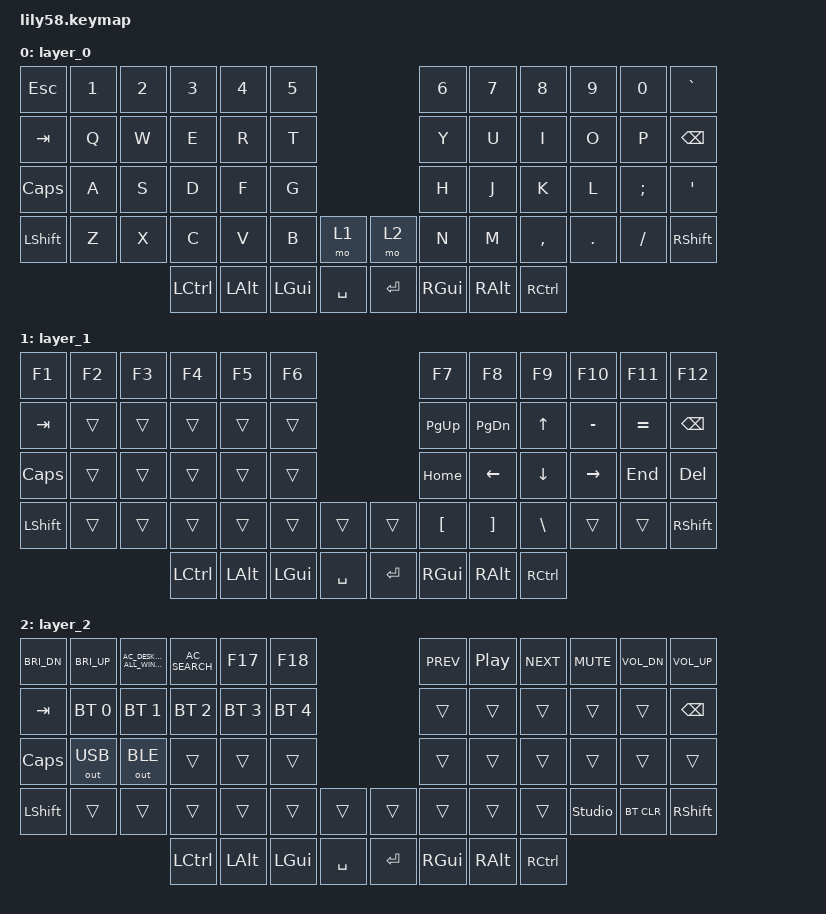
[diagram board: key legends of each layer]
#include <behaviors.dtsi>
#include <dt-bindings/zmk/bt.h>
#include <dt-bindings/zmk/keys.h>
#include <dt-bindings/zmk/outputs.h>

/ {
    keymap {
        compatible = "zmk,keymap";

        layer_0 {
            bindings = <
&kp ESC    &kp N1  &kp N2  &kp N3     &kp N4    &kp N5                          &kp N6    &kp N7    &kp N8     &kp N9   &kp N0    &kp GRAVE
&kp TAB    &kp Q   &kp W   &kp E      &kp R     &kp T                           &kp Y     &kp U     &kp I      &kp O    &kp P     &kp BSPC
&kp CAPS   &kp A   &kp S   &kp D      &kp F     &kp G                           &kp H     &kp J     &kp K      &kp L    &kp SEMI  &kp APOS
&kp LSHFT  &kp Z   &kp X   &kp C      &kp V     &kp B     &mo 1        &mo 2    &kp N     &kp M     &kp COMMA  &kp DOT  &kp FSLH  &kp RSHFT
                           &kp LCTRL  &kp LALT  &kp LGUI  &kp SPACE    &kp RET  &kp RGUI  &kp RALT  &kp RCTRL
            >;
        };

        layer_1 {
            // F-keys, navigation and symbols. Transparent positions keep base keys.
            bindings = <
&kp F1     &kp F2   &kp F3   &kp F4     &kp F5    &kp F6                          &kp F7    &kp F8    &kp F9     &kp F10    &kp F11    &kp F12
&kp TAB    &trans   &trans   &trans     &trans    &trans                         &kp PG_UP &kp PG_DN &kp UP     &kp MINUS  &kp EQUAL  &kp BSPC
&kp CAPS   &trans   &trans   &trans     &trans    &trans                         &kp HOME  &kp LEFT  &kp DOWN   &kp RIGHT  &kp END    &kp DEL
&kp LSHFT  &trans   &trans   &trans     &trans    &trans    &trans      &trans   &kp LBKT  &kp RBKT  &kp BSLH   &trans     &trans     &kp RSHFT
                             &kp LCTRL  &kp LALT  &kp LGUI  &kp SPACE    &kp RET  &kp RGUI  &kp RALT  &kp RCTRL
            >;
        };

        layer_2 {
            // macOS controls: brightness, Mission Control, Spotlight, dictation,
            // Focus, previous track, play/pause, next track, mute and volume.
            // Assign F17 to Dictation and F18 to Do Not Disturb in macOS settings.
            // Studio unlock is at base .; BT_CLR at base / clears the selected profile.
            bindings = <
&kp C_BRI_DN &kp C_BRI_UP &kp C_AC_DESKTOP_SHOW_ALL_WINDOWS &kp C_AC_SEARCH &kp F17 &kp F18                     &kp C_PREV &kp C_PP &kp C_NEXT &kp C_MUTE &kp C_VOL_DN &kp C_VOL_UP
&kp TAB     &bt BT_SEL 0 &bt BT_SEL 1 &bt BT_SEL 2 &bt BT_SEL 3 &bt BT_SEL 4                                     &trans     &trans   &trans     &trans     &trans       &kp BSPC
&kp CAPS    &out OUT_USB &out OUT_BLE &trans       &trans       &trans                                           &trans     &trans   &trans     &trans     &trans       &trans
&kp LSHFT   &trans      &trans       &trans       &trans       &trans       &trans    &trans                   &trans     &trans   &trans     &studio_unlock &bt BT_CLR &kp RSHFT
                                        &kp LCTRL &kp LALT &kp LGUI &kp SPACE    &kp RET &kp RGUI &kp RALT &kp RCTRL
            >;
        };
    };
};

